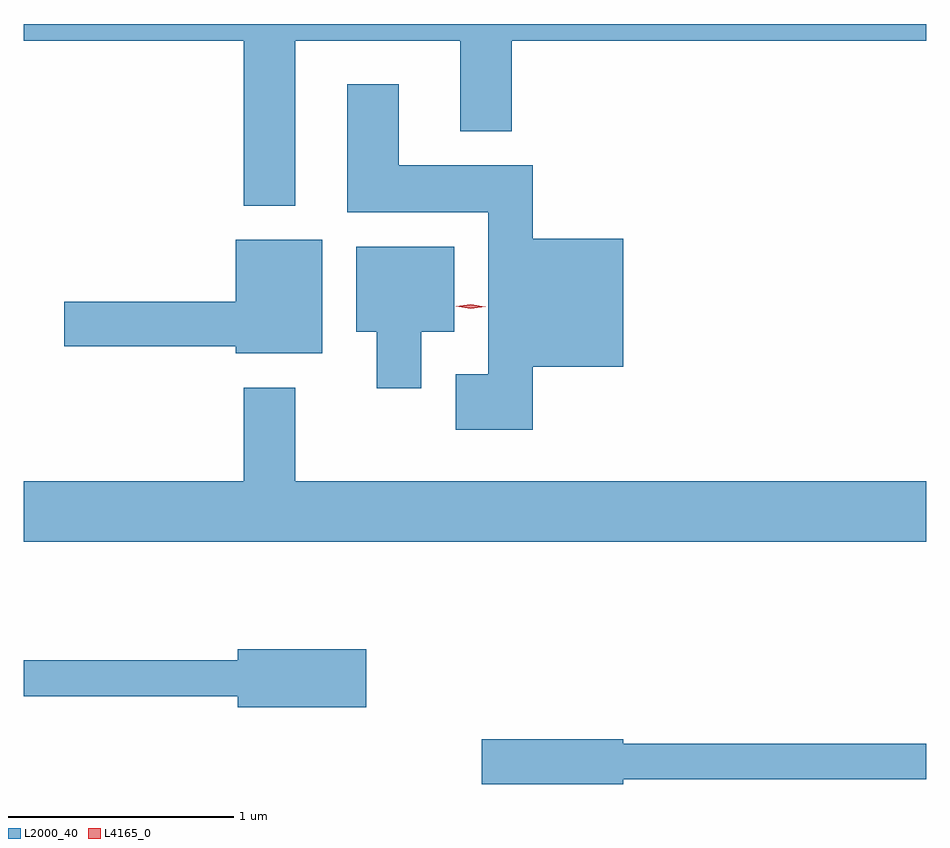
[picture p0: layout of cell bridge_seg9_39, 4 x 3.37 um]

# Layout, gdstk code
import gdstk
lib = gdstk.Library(unit=1e-6, precision=1e-09)
def P(c, l, *ps):  # polygons
    for p in ps: c.add(gdstk.Polygon(p, *l))
L2000_40 = (2000, 40)
L4165_0 = (4165, 0)

bridge_seg9_39 = lib.new_cell('bridge_seg9_39')
P(bridge_seg9_39, L2000_40, [(1687.779,2033.996),(1688.511,2033.996),(1688.511,2033.596),(1688.739,2033.596),(1688.739,2033.996),(1690.577,2033.996),(1690.577,2034.071),(1686.577,2034.071),(1686.577,2033.996),(1687.551,2033.996),(1687.551,2033.266),(1687.779,2033.266)],
  [(1688.834,2032.551),(1689.234,2032.551),(1689.234,2033.119),(1688.834,2033.119),(1688.834,2033.444),(1688.239,2033.444),(1688.239,2033.804),(1688.011,2033.804),(1688.011,2033.236),(1688.636,2033.236),(1688.636,2032.519),(1688.491,2032.519),(1688.491,2032.271),(1688.834,2032.271)],
  [(1687.899,2033.114),(1687.516,2033.114),(1687.516,2032.839),(1686.756,2032.839),(1686.756,2032.641),(1687.516,2032.641),(1687.516,2032.611),(1687.899,2032.611)],
  [(1688.339,2032.706),(1688.484,2032.706),(1688.484,2033.084),(1688.051,2033.084),(1688.051,2032.706),(1688.141,2032.706),(1688.141,2032.456),(1688.339,2032.456)],
  [(1690.577,2032.044),(1687.779,2032.044),(1687.779,2032.459),(1687.551,2032.459),(1687.551,2032.044),(1686.577,2032.044),(1686.577,2031.776),(1690.577,2031.776)],
  [(1688.094,2031.299),(1687.526,2031.299),(1687.526,2031.249),(1686.577,2031.249),(1686.577,2031.091),(1687.526,2031.091),(1687.526,2031.041),(1688.094,2031.041)],
  [(1689.234,2030.721),(1690.577,2030.721),(1690.577,2030.879),(1689.234,2030.879),(1689.234,2030.899),(1688.606,2030.899),(1688.606,2030.701),(1689.234,2030.701)])
P(bridge_seg9_39, L4165_0, [(1688.558,2032.809),(1688.492,2032.819),(1688.492,2032.82),(1688.492,2032.82),(1688.558,2032.828),(1688.623,2032.818),(1688.624,2032.817),(1688.623,2032.817)])

lib.write_gds('bridge_seg9_39.gds')
